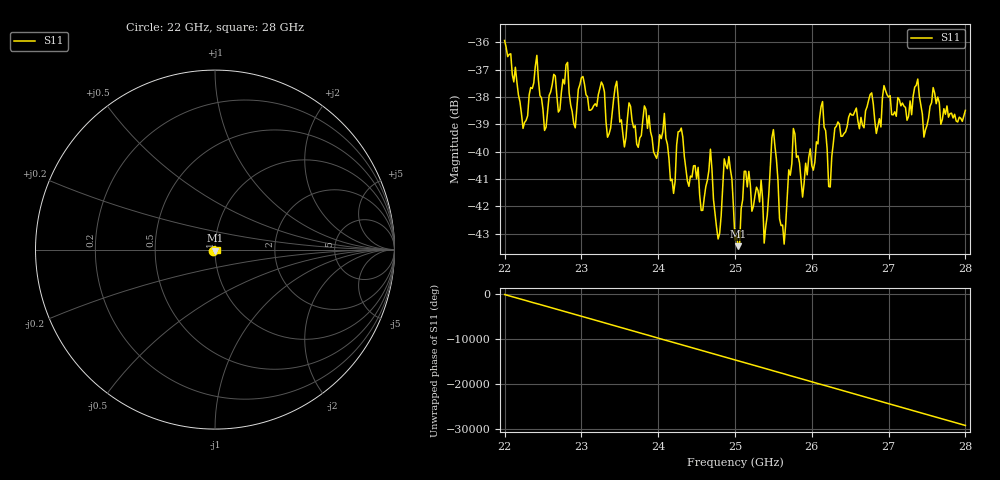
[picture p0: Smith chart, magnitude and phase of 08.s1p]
#  HZ  S  RI  R  50.00
! Rohde & Schwarz ZVA40 4Ports - Version 3.90 - 1145.1110k42 SN: 100403
! Date: 2023-10-04 10:20:07
! Measurement: S12
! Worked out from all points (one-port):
!   301 points, 22 GHz to 28 GHz, reference 50 ohm
!   lowest |S11| = -43.5 dB at 25.04 GHz (marker M1), VSWR 1.01, Z = 50.1 - j0.663 ohm
!   |S11| at or under -10 dB: start of sweep to end of sweep
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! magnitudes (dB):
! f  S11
! 22 GHz  -35.9
! 22.24 GHz  -39.1
! 22.42 GHz  -36.5
! 22.52 GHz  -39.2
! 22.76 GHz  -37.4
! 23.5 GHz  -38.9
! 23.98 GHz  -40.2
! 24.08 GHz  -38.6
! 24.2 GHz  -41.5
! 24.26 GHz  -39.3
! 24.56 GHz  -42.1
! 24.68 GHz  -39.9
! 24.78 GHz  -43.2
! 24.92 GHz  -40.2
! 25 GHz  -43.2
! 25.04 GHz  -43.5
! 25.12 GHz  -40.7
! 25.34 GHz  -41.0
! 25.38 GHz  -43.3
! 25.5 GHz  -39.2
! 25.64 GHz  -43.4
! 25.76 GHz  -39.2
! 25.88 GHz  -41.7
! 26.14 GHz  -38.2
! 26.22 GHz  -41.3
! 26.5 GHz  -38.6
! 27.26 GHz  -38.7
! 28 GHz  -38.5
